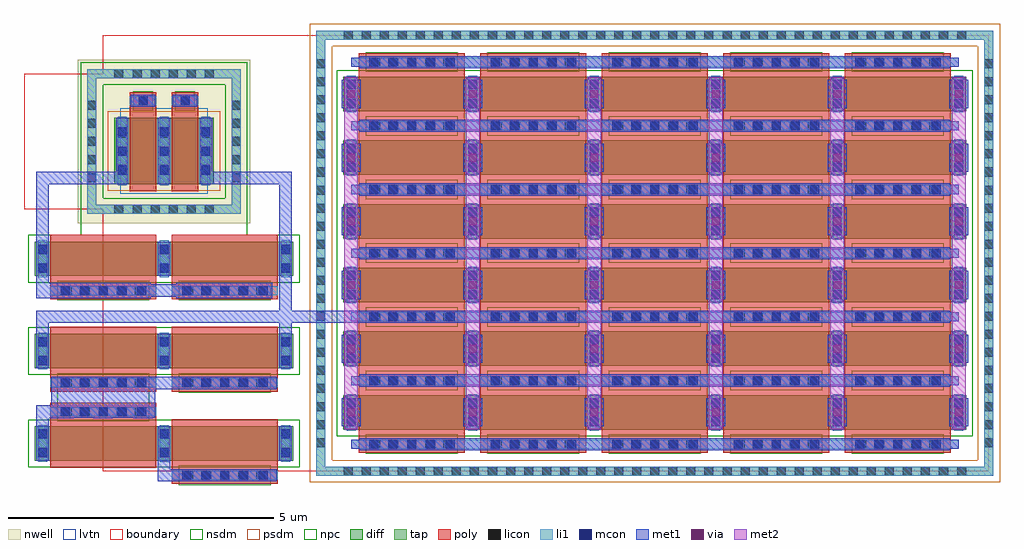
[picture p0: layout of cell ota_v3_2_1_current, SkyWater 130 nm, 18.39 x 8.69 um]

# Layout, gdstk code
import gdstk
lib = gdstk.Library(unit=1e-6, precision=1e-09)
def R(c, l, rs):  # rectangles x0, y0, x1, y1
    for r in rs: c.add(gdstk.rectangle(r[:2], r[2:], *l))
def A(c, l, x, y, w, h, nx, ny, dx, dy):  # array of equal rectangles
    R(c, l, [(x+i*dx, y+j*dy, x+i*dx+w, y+j*dy+h) for i in range(nx) for j in range(ny)])
nwell = (64, 20)
diff = (65, 20)
tap = (65, 44)
poly = (66, 20)
licon = (66, 44)
li1 = (67, 20)
mcon = (67, 44)
met1 = (68, 20)
via = (68, 44)
met2 = (69, 20)
nsdm = (93, 44)
psdm = (94, 20)
npc = (95, 20)
lvtn = (125, 44)
boundary = (235, 4)

sky130_fd_pr__pfet_01v8_ = lib.new_cell('sky130_fd_pr__pfet_01v8_lvt_YE4XRW')
R(sky130_fd_pr__pfet_01v8_, nwell, [(-1.625,-1.545,1.625,1.545)])
R(sky130_fd_pr__pfet_01v8_, diff, [(-0.935,-0.805,0.935,0.445)])
R(sky130_fd_pr__pfet_01v8_, tap, [(-1.445,-1.365,1.445,-1.195), (-1.445,-1.195,-1.275,1.195), (1.275,-1.195,1.445,1.195), (-1.445,1.195,1.445,1.365)])
R(sky130_fd_pr__pfet_01v8_, poly, [(-0.645,-0.935,-0.145,0.93), (0.145,-0.935,0.645,0.93)])
A(sky130_fd_pr__pfet_01v8_, licon, -0.935, -1.365, 0.17, 0.17, 6, 2, 0.34, 2.56)
A(sky130_fd_pr__pfet_01v8_, licon, -1.445, -0.765, 0.17, 0.17, 1, 5, 0, 0.34)
A(sky130_fd_pr__pfet_01v8_, licon, 1.275, -0.765, 0.17, 0.17, 1, 5, 0, 0.34)
A(sky130_fd_pr__pfet_01v8_, licon, -0.875, -0.605, 0.17, 0.17, 3, 3, 0.79, 0.34)
R(sky130_fd_pr__pfet_01v8_, licon, [(-0.48,0.68,-0.31,0.85), (0.31,0.68,0.48,0.85)])
A(sky130_fd_pr__pfet_01v8_, li1, -0.875, -0.825, 0.17, 1.29, 3, 1, 0.79, 0)
R(sky130_fd_pr__pfet_01v8_, li1, [(-1.445,-1.365,1.445,-1.195), (-1.445,-1.195,-1.275,1.195), (1.275,-1.195,1.445,1.195), (-0.645,0.68,-0.145,0.85), (0.145,0.68,0.645,0.85), (-1.445,1.195,1.445,1.365)])
A(sky130_fd_pr__pfet_01v8_, mcon, -0.875, -0.625, 0.17, 0.17, 3, 3, 0.79, 0.36)
R(sky130_fd_pr__pfet_01v8_, mcon, [(-0.48,0.68,-0.31,0.85), (0.31,0.68,0.48,0.85)])
A(sky130_fd_pr__pfet_01v8_, met1, -0.905, -0.805, 0.23, 1.25, 3, 1, 0.79, 0)
R(sky130_fd_pr__pfet_01v8_, met1, [(-0.625,0.65,-0.165,0.88), (0.165,0.65,0.625,0.88)])
R(sky130_fd_pr__pfet_01v8_, nsdm, [(-1.57,-1.49,1.57,-1.07), (-1.57,-1.07,-1.15,1.07), (1.15,-1.07,1.57,1.07), (-1.57,1.07,1.57,1.49)])
R(sky130_fd_pr__pfet_01v8_, psdm, [(-1.06,-0.93,1.06,0.57)])
R(sky130_fd_pr__pfet_01v8_, npc, [(-0.58,0.58,-0.21,0.95), (0.21,0.58,0.58,0.95)])
R(sky130_fd_pr__pfet_01v8_, lvtn, [(-0.825,-0.985,0.825,0.625)])
R(sky130_fd_pr__pfet_01v8_, boundary, [(-2.64,-1.28,1.36,1.28)])
sky130_fd_pr__pfet_01v8_.add(gdstk.Label('B', (0,-1.28), layer=67, texttype=5))
sky130_fd_pr__pfet_01v8_.add(gdstk.Label('D0', (-0.79,-0.18), layer=67, texttype=5))
sky130_fd_pr__pfet_01v8_.add(gdstk.Label('G0', (-0.395,0.765), layer=67, texttype=5))
sky130_fd_pr__pfet_01v8_.add(gdstk.Label('S1', (0,-0.18), layer=67, texttype=5))
sky130_fd_pr__pfet_01v8_.add(gdstk.Label('G1', (0.395,0.765), layer=67, texttype=5))

sky130_fd_pr__nfet_01v8_ = lib.new_cell('sky130_fd_pr__nfet_01v8_YCG9D7')
R(sky130_fd_pr__nfet_01v8_, diff, [(-2.435,-0.325,2.435,0.325)])
R(sky130_fd_pr__nfet_01v8_, poly, [(0.145,-0.765,2.145,0.455), (-2.145,-0.455,-0.145,0.765)])
A(sky130_fd_pr__nfet_01v8_, licon, 0.38, -0.685, 0.17, 0.17, 5, 1, 0.34, 0)
A(sky130_fd_pr__nfet_01v8_, licon, -2.375, -0.255, 0.17, 0.17, 3, 2, 2.29, 0.34)
A(sky130_fd_pr__nfet_01v8_, licon, -1.91, 0.515, 0.17, 0.17, 5, 1, 0.34, 0)
A(sky130_fd_pr__nfet_01v8_, li1, -2.375, -0.345, 0.17, 0.69, 3, 1, 2.29, 0)
R(sky130_fd_pr__nfet_01v8_, li1, [(0.145,-0.685,2.145,-0.515), (-2.145,0.515,-0.145,0.685)])
A(sky130_fd_pr__nfet_01v8_, mcon, 0.34, -0.685, 0.17, 0.17, 5, 1, 0.36, 0)
A(sky130_fd_pr__nfet_01v8_, mcon, -2.375, -0.265, 0.17, 0.17, 3, 2, 2.29, 0.36)
A(sky130_fd_pr__nfet_01v8_, mcon, -1.95, 0.515, 0.17, 0.17, 5, 1, 0.36, 0)
A(sky130_fd_pr__nfet_01v8_, met1, -2.405, -0.325, 0.23, 0.65, 3, 1, 2.29, 0)
R(sky130_fd_pr__nfet_01v8_, met1, [(0.165,-0.715,2.125,-0.485), (-2.125,0.485,-0.165,0.715)])
R(sky130_fd_pr__nfet_01v8_, nsdm, [(-2.56,-0.45,2.56,0.45)])
R(sky130_fd_pr__nfet_01v8_, npc, [(0.28,-0.785,2.01,-0.415), (-2.01,0.415,-0.28,0.785)])
sky130_fd_pr__nfet_01v8_.add(gdstk.Label('D0', (-2.29,0), layer=67, texttype=5))
sky130_fd_pr__nfet_01v8_.add(gdstk.Label('G0', (-1.145,0.6), layer=67, texttype=5))
sky130_fd_pr__nfet_01v8_.add(gdstk.Label('S1', (0,0), layer=67, texttype=5))

c_sky130_fd_pr__nfet_01v8_ = lib.new_cell('sky130_fd_pr__nfet_01v8_NJGPHB')
R(c_sky130_fd_pr__nfet_01v8_, diff, [(-2.435,-0.17,2.435,0.48)])
R(c_sky130_fd_pr__nfet_01v8_, poly, [(-2.145,-0.61,-0.145,0.61), (0.145,-0.61,2.145,0.61)])
A(c_sky130_fd_pr__nfet_01v8_, licon, -1.91, -0.53, 0.17, 0.17, 5, 1, 0.34, 0)
A(c_sky130_fd_pr__nfet_01v8_, licon, 0.38, -0.53, 0.17, 0.17, 5, 1, 0.34, 0)
A(c_sky130_fd_pr__nfet_01v8_, licon, -2.375, -0.1, 0.17, 0.17, 3, 2, 2.29, 0.34)
A(c_sky130_fd_pr__nfet_01v8_, li1, -2.375, -0.19, 0.17, 0.69, 3, 1, 2.29, 0)
R(c_sky130_fd_pr__nfet_01v8_, li1, [(-2.145,-0.53,-0.145,-0.36), (0.145,-0.53,2.145,-0.36)])
A(c_sky130_fd_pr__nfet_01v8_, mcon, -1.95, -0.53, 0.17, 0.17, 5, 1, 0.36, 0)
A(c_sky130_fd_pr__nfet_01v8_, mcon, 0.34, -0.53, 0.17, 0.17, 5, 1, 0.36, 0)
A(c_sky130_fd_pr__nfet_01v8_, mcon, -2.375, -0.11, 0.17, 0.17, 3, 2, 2.29, 0.36)
A(c_sky130_fd_pr__nfet_01v8_, met1, -2.405, -0.17, 0.23, 0.65, 3, 1, 2.29, 0)
R(c_sky130_fd_pr__nfet_01v8_, met1, [(-2.405,-0.59,-0.255,-0.56), (0.225,-0.59,2.035,-0.3), (-2.405,-0.56,-0.06,-0.53), (-2.065,-0.53,-0.06,-0.37), (-2.245,-0.37,-0.06,-0.33), (-2.245,-0.33,-0.255,-0.3)])
R(c_sky130_fd_pr__nfet_01v8_, nsdm, [(-2.56,-0.295,2.56,0.605)])
R(c_sky130_fd_pr__nfet_01v8_, npc, [(-2.01,-0.63,-0.28,-0.26), (0.28,-0.63,2.01,-0.26)])
c_sky130_fd_pr__nfet_01v8_.add(gdstk.Label('D0', (-2.29,0.155), layer=67, texttype=5))
c_sky130_fd_pr__nfet_01v8_.add(gdstk.Label('G0', (-1.145,-0.445), layer=67, texttype=5))
c_sky130_fd_pr__nfet_01v8_.add(gdstk.Label('S1', (0,0.155), layer=67, texttype=5))
c_sky130_fd_pr__nfet_01v8_.add(gdstk.Label('G1', (-1.145,-0.445), layer=67, texttype=5))
c_sky130_fd_pr__nfet_01v8_.add(gdstk.Label('G1', (1.145,-0.445), layer=67, texttype=5))

c_sky130_fd_pr__nfet_01v8__ = lib.new_cell('sky130_fd_pr__nfet_01v8_BTD5D5')
R(c_sky130_fd_pr__nfet_01v8__, diff, [(-2.435,-0.325,2.435,0.325)])
R(c_sky130_fd_pr__nfet_01v8__, poly, [(-2.145,-0.765,-0.145,0.455), (0.145,-0.765,2.145,0.455)])
A(c_sky130_fd_pr__nfet_01v8__, licon, -1.91, -0.685, 0.17, 0.17, 5, 1, 0.34, 0)
A(c_sky130_fd_pr__nfet_01v8__, licon, 0.38, -0.685, 0.17, 0.17, 5, 1, 0.34, 0)
A(c_sky130_fd_pr__nfet_01v8__, licon, -2.375, -0.255, 0.17, 0.17, 3, 2, 2.29, 0.34)
A(c_sky130_fd_pr__nfet_01v8__, li1, -2.375, -0.345, 0.17, 0.69, 3, 1, 2.29, 0)
R(c_sky130_fd_pr__nfet_01v8__, li1, [(-2.145,-0.685,-0.145,-0.515), (0.145,-0.685,2.145,-0.515)])
A(c_sky130_fd_pr__nfet_01v8__, mcon, -1.95, -0.685, 0.17, 0.17, 5, 1, 0.36, 0)
A(c_sky130_fd_pr__nfet_01v8__, mcon, 0.34, -0.685, 0.17, 0.17, 5, 1, 0.36, 0)
A(c_sky130_fd_pr__nfet_01v8__, mcon, -2.375, -0.265, 0.17, 0.17, 3, 2, 2.29, 0.36)
A(c_sky130_fd_pr__nfet_01v8__, met1, -2.405, -0.325, 0.23, 0.65, 3, 1, 2.29, 0)
R(c_sky130_fd_pr__nfet_01v8__, met1, [(-2.125,-0.715,-0.165,-0.485), (0.165,-0.715,2.125,-0.485)])
R(c_sky130_fd_pr__nfet_01v8__, nsdm, [(-2.56,-0.45,2.56,0.45)])
R(c_sky130_fd_pr__nfet_01v8__, npc, [(-2.01,-0.785,-0.28,-0.415), (0.28,-0.785,2.01,-0.415)])
c_sky130_fd_pr__nfet_01v8__.add(gdstk.Label('D0', (-2.29,0), layer=67, texttype=5))
c_sky130_fd_pr__nfet_01v8__.add(gdstk.Label('S1', (0,0), layer=67, texttype=5))

c_sky130_fd_pr__nfet_01v8___ = lib.new_cell('sky130_fd_pr__nfet_01v8_DYUMWS')
A(c_sky130_fd_pr__nfet_01v8___, diff, -5.87, -3.325, 11.74, 0.65, 1, 6, 0, 1.2)
R(c_sky130_fd_pr__nfet_01v8___, tap, [(-6.38,-4.195,6.38,-4.025), (-6.38,-4.025,-6.21,4.025), (6.21,-4.025,6.38,4.025), (-6.38,4.025,6.38,4.195)])
A(c_sky130_fd_pr__nfet_01v8___, poly, -5.58, -3.765, 2, 7.53, 5, 1, 2.29, 0)
A(c_sky130_fd_pr__nfet_01v8___, licon, -5.865, -4.195, 0.17, 0.17, 35, 2, 0.34, 8.22)
A(c_sky130_fd_pr__nfet_01v8___, licon, -5.345, -3.685, 0.17, 0.17, 5, 7, 0.34, 1.2)
A(c_sky130_fd_pr__nfet_01v8___, licon, -3.055, -3.685, 0.17, 0.17, 5, 7, 0.34, 1.2)
A(c_sky130_fd_pr__nfet_01v8___, licon, -0.765, -3.685, 0.17, 0.17, 5, 7, 0.34, 1.2)
A(c_sky130_fd_pr__nfet_01v8___, licon, 1.525, -3.685, 0.17, 0.17, 5, 7, 0.34, 1.2)
A(c_sky130_fd_pr__nfet_01v8___, licon, 3.815, -3.685, 0.17, 0.17, 5, 7, 0.34, 1.2)
A(c_sky130_fd_pr__nfet_01v8___, licon, -6.38, -3.655, 0.17, 0.17, 1, 22, 0, 0.34)
A(c_sky130_fd_pr__nfet_01v8___, licon, 6.21, -3.655, 0.17, 0.17, 1, 22, 0, 0.34)
A(c_sky130_fd_pr__nfet_01v8___, licon, -5.81, -3.255, 0.17, 0.17, 6, 2, 2.29, 0.34)
A(c_sky130_fd_pr__nfet_01v8___, licon, -5.81, -2.055, 0.17, 0.17, 6, 2, 2.29, 0.34)
A(c_sky130_fd_pr__nfet_01v8___, licon, -5.81, -0.855, 0.17, 0.17, 6, 2, 2.29, 0.34)
A(c_sky130_fd_pr__nfet_01v8___, licon, -5.81, 0.345, 0.17, 0.17, 6, 2, 2.29, 0.34)
A(c_sky130_fd_pr__nfet_01v8___, licon, -5.81, 1.545, 0.17, 0.17, 6, 2, 2.29, 0.34)
A(c_sky130_fd_pr__nfet_01v8___, licon, -5.81, 2.745, 0.17, 0.17, 6, 2, 2.29, 0.34)
A(c_sky130_fd_pr__nfet_01v8___, li1, -5.725, -3.685, 11.45, 0.17, 1, 7, 0, 1.2)
A(c_sky130_fd_pr__nfet_01v8___, li1, -5.81, -3.345, 0.17, 0.69, 6, 6, 2.29, 1.2)
R(c_sky130_fd_pr__nfet_01v8___, li1, [(-6.38,-4.195,6.38,-4.025), (-6.38,-4.025,-6.21,4.025), (6.21,-4.025,6.38,4.025), (-6.38,4.025,6.38,4.195)])
A(c_sky130_fd_pr__nfet_01v8___, mcon, -5.385, -3.685, 0.17, 0.17, 5, 7, 0.36, 1.2)
A(c_sky130_fd_pr__nfet_01v8___, mcon, -3.095, -3.685, 0.17, 0.17, 5, 7, 0.36, 1.2)
A(c_sky130_fd_pr__nfet_01v8___, mcon, -0.805, -3.685, 0.17, 0.17, 5, 7, 0.36, 1.2)
A(c_sky130_fd_pr__nfet_01v8___, mcon, 1.485, -3.685, 0.17, 0.17, 5, 7, 0.36, 1.2)
A(c_sky130_fd_pr__nfet_01v8___, mcon, 3.775, -3.685, 0.17, 0.17, 5, 7, 0.36, 1.2)
A(c_sky130_fd_pr__nfet_01v8___, mcon, -5.81, -3.265, 0.17, 0.17, 6, 2, 2.29, 0.36)
A(c_sky130_fd_pr__nfet_01v8___, mcon, -5.81, -2.065, 0.17, 0.17, 6, 2, 2.29, 0.36)
A(c_sky130_fd_pr__nfet_01v8___, mcon, -5.81, -0.865, 0.17, 0.17, 6, 2, 2.29, 0.36)
A(c_sky130_fd_pr__nfet_01v8___, mcon, -5.81, 0.335, 0.17, 0.17, 6, 2, 2.29, 0.36)
A(c_sky130_fd_pr__nfet_01v8___, mcon, -5.81, 1.535, 0.17, 0.17, 6, 2, 2.29, 0.36)
A(c_sky130_fd_pr__nfet_01v8___, mcon, -5.81, 2.735, 0.17, 0.17, 6, 2, 2.29, 0.36)
A(c_sky130_fd_pr__nfet_01v8___, met1, -5.56, -3.715, 1.96, 0.03, 5, 2, 2.29, 0.2)
A(c_sky130_fd_pr__nfet_01v8___, met1, -5.725, -3.685, 11.45, 0.17, 1, 7, 0, 1.2)
A(c_sky130_fd_pr__nfet_01v8___, met1, -5.84, -3.325, 0.23, 0.65, 6, 6, 2.29, 1.2)
A(c_sky130_fd_pr__nfet_01v8___, met1, -5.56, -2.515, 1.96, 0.03, 5, 2, 2.29, 0.2)
A(c_sky130_fd_pr__nfet_01v8___, met1, -5.56, -1.315, 1.96, 0.03, 5, 2, 2.29, 0.2)
A(c_sky130_fd_pr__nfet_01v8___, met1, -5.56, -0.115, 1.96, 0.03, 5, 2, 2.29, 0.2)
A(c_sky130_fd_pr__nfet_01v8___, met1, -5.56, 1.085, 1.96, 0.03, 5, 2, 2.29, 0.2)
A(c_sky130_fd_pr__nfet_01v8___, met1, -5.56, 2.285, 1.96, 0.03, 5, 2, 2.29, 0.2)
A(c_sky130_fd_pr__nfet_01v8___, met1, -5.56, 3.485, 1.96, 0.03, 5, 2, 2.29, 0.2)
R(c_sky130_fd_pr__nfet_01v8___, nsdm, [(-5.995,-3.45,5.995,3.45)])
R(c_sky130_fd_pr__nfet_01v8___, psdm, [(-6.505,-4.32,6.505,-3.9), (-6.505,-3.9,-6.085,3.9), (6.085,-3.9,6.505,3.9), (-6.505,3.9,6.505,4.32)])
A(c_sky130_fd_pr__nfet_01v8___, npc, -5.445, -3.785, 1.73, 0.37, 5, 7, 2.29, 1.2)
R(c_sky130_fd_pr__nfet_01v8___, boundary, [(-10.405,-4.11,6.295,4.11)])
c_sky130_fd_pr__nfet_01v8___.add(gdstk.Label('B', (0,-4.11), layer=67, texttype=5))
c_sky130_fd_pr__nfet_01v8___.add(gdstk.Label('D0_0', (-5.725,-3), layer=67, texttype=5))
c_sky130_fd_pr__nfet_01v8___.add(gdstk.Label('G', (4.58,-2.4), layer=67, texttype=5))
c_sky130_fd_pr__nfet_01v8___.add(gdstk.Label('G', (2.29,-2.4), layer=67, texttype=5))
c_sky130_fd_pr__nfet_01v8___.add(gdstk.Label('G', (0,-2.4), layer=67, texttype=5))
c_sky130_fd_pr__nfet_01v8___.add(gdstk.Label('G', (-2.29,-2.4), layer=67, texttype=5))
c_sky130_fd_pr__nfet_01v8___.add(gdstk.Label('G', (-4.58,-2.4), layer=67, texttype=5))
c_sky130_fd_pr__nfet_01v8___.add(gdstk.Label('D0_1', (-5.725,-1.8), layer=67, texttype=5))
c_sky130_fd_pr__nfet_01v8___.add(gdstk.Label('D0_2', (-5.725,-0.6), layer=67, texttype=5))
c_sky130_fd_pr__nfet_01v8___.add(gdstk.Label('D0_3', (-5.725,0.6), layer=67, texttype=5))
c_sky130_fd_pr__nfet_01v8___.add(gdstk.Label('D0_4', (-5.725,1.8), layer=67, texttype=5))
c_sky130_fd_pr__nfet_01v8___.add(gdstk.Label('D0_5', (-5.725,3), layer=67, texttype=5))
c_sky130_fd_pr__nfet_01v8___.add(gdstk.Label('S1_0', (-3.435,-3), layer=67, texttype=5))
c_sky130_fd_pr__nfet_01v8___.add(gdstk.Label('S1_1', (-3.435,-1.8), layer=67, texttype=5))
c_sky130_fd_pr__nfet_01v8___.add(gdstk.Label('S1_2', (-3.435,-0.6), layer=67, texttype=5))
c_sky130_fd_pr__nfet_01v8___.add(gdstk.Label('S1_3', (-3.435,0.6), layer=67, texttype=5))
c_sky130_fd_pr__nfet_01v8___.add(gdstk.Label('S1_4', (-3.435,1.8), layer=67, texttype=5))
c_sky130_fd_pr__nfet_01v8___.add(gdstk.Label('S1_5', (-3.435,3), layer=67, texttype=5))
c_sky130_fd_pr__nfet_01v8___.add(gdstk.Label('D2_0', (-1.145,-3), layer=67, texttype=5))
c_sky130_fd_pr__nfet_01v8___.add(gdstk.Label('D2_1', (-1.145,-1.8), layer=67, texttype=5))
c_sky130_fd_pr__nfet_01v8___.add(gdstk.Label('D2_2', (-1.145,-0.6), layer=67, texttype=5))
c_sky130_fd_pr__nfet_01v8___.add(gdstk.Label('D2_3', (-1.145,0.6), layer=67, texttype=5))
c_sky130_fd_pr__nfet_01v8___.add(gdstk.Label('D2_4', (-1.145,1.8), layer=67, texttype=5))
c_sky130_fd_pr__nfet_01v8___.add(gdstk.Label('D2_5', (-1.145,3), layer=67, texttype=5))
c_sky130_fd_pr__nfet_01v8___.add(gdstk.Label('S3_0', (1.145,-3), layer=67, texttype=5))
c_sky130_fd_pr__nfet_01v8___.add(gdstk.Label('S3_1', (1.145,-1.8), layer=67, texttype=5))
c_sky130_fd_pr__nfet_01v8___.add(gdstk.Label('S3_2', (1.145,-0.6), layer=67, texttype=5))
c_sky130_fd_pr__nfet_01v8___.add(gdstk.Label('S3_3', (1.145,0.6), layer=67, texttype=5))
c_sky130_fd_pr__nfet_01v8___.add(gdstk.Label('S3_4', (1.145,1.8), layer=67, texttype=5))
c_sky130_fd_pr__nfet_01v8___.add(gdstk.Label('S3_5', (1.145,3), layer=67, texttype=5))
c_sky130_fd_pr__nfet_01v8___.add(gdstk.Label('D4_0', (3.435,-3), layer=67, texttype=5))
c_sky130_fd_pr__nfet_01v8___.add(gdstk.Label('S4_0', (5.725,-3), layer=67, texttype=5))
c_sky130_fd_pr__nfet_01v8___.add(gdstk.Label('D4_1', (3.435,-1.8), layer=67, texttype=5))
c_sky130_fd_pr__nfet_01v8___.add(gdstk.Label('S4_1', (5.725,-1.8), layer=67, texttype=5))
c_sky130_fd_pr__nfet_01v8___.add(gdstk.Label('D4_2', (3.435,-0.6), layer=67, texttype=5))
c_sky130_fd_pr__nfet_01v8___.add(gdstk.Label('S4_2', (5.725,-0.6), layer=67, texttype=5))
c_sky130_fd_pr__nfet_01v8___.add(gdstk.Label('D4_3', (3.435,0.6), layer=67, texttype=5))
c_sky130_fd_pr__nfet_01v8___.add(gdstk.Label('S4_3', (5.725,0.6), layer=67, texttype=5))
c_sky130_fd_pr__nfet_01v8___.add(gdstk.Label('D4_4', (3.435,1.8), layer=67, texttype=5))
c_sky130_fd_pr__nfet_01v8___.add(gdstk.Label('S4_4', (5.725,1.8), layer=67, texttype=5))
c_sky130_fd_pr__nfet_01v8___.add(gdstk.Label('D4_5', (3.435,3), layer=67, texttype=5))
c_sky130_fd_pr__nfet_01v8___.add(gdstk.Label('S4_5', (5.725,3), layer=67, texttype=5))

ota_v3_2_1_current = lib.new_cell('ota_v3_2_1_current')
A(ota_v3_2_1_current, poly, 10.935, -4.45, 0.02, 0.23, 1, 4, 0, 1.2)
A(ota_v3_2_1_current, poly, 11.245, -4.45, 0.02, 0.23, 1, 4, 0, 1.2)
A(ota_v3_2_1_current, poly, 13.225, -4.45, 0.02, 0.23, 1, 4, 0, 1.2)
A(ota_v3_2_1_current, poly, 13.535, -4.45, 0.02, 0.23, 1, 4, 0, 1.2)
A(ota_v3_2_1_current, poly, 15.515, -4.45, 0.02, 0.23, 1, 5, 0, 1.2)
A(ota_v3_2_1_current, poly, 15.825, -4.45, 0.02, 0.23, 1, 5, 0, 1.2)
A(ota_v3_2_1_current, li1, 10.935, -4.42, 0.33, 0.17, 3, 4, 2.29, 1.2)
R(ota_v3_2_1_current, li1, [(15.515,0.38,15.845,0.55)])
A(ota_v3_2_1_current, met1, 8.645, -4.45, 0.33, 0.23, 4, 7, 2.29, 1.2)
A(ota_v3_2_1_current, met1, 6.34, -4, 0.36, 0.53, 6, 6, 2.29, 1.2)
R(ota_v3_2_1_current, met1, [(2.88,-5.035,3.28,-4.805), (2.88,-4.805,3.11,-4.64), (0.59,-3.995,0.82,-3.85), (0.59,-3.85,1.29,-3.605), (1.67,-3.85,2.03,-3.605), (2.41,-3.85,2.77,-3.605), (0.87,-3.605,2.83,-3.295), (0.87,-3.295,3.165,-3.29), (2.83,-3.29,3.165,-3.065), (5.17,-2.71,5.4,-2.45), (0.59,-2.255,0.82,-2.05), (5.17,-2.255,5.4,-2.05), (0.59,-2.05,6.685,-1.82), (5.17,-1.82,5.4,-1.025), (0.59,-1.555,1.045,-1.325), (2.83,-1.555,3.285,-1.325), (0.59,-1.325,0.82,-1.165), (5.17,-0.97,5.4,-0.71), (0.59,-0.515,0.82,0.565), (5.17,-0.515,5.4,0.565), (0.59,0.565,2.32,0.795), (3.67,0.565,5.4,0.795)])
A(ota_v3_2_1_current, via, 6.445, -3.81, 0.15, 0.15, 6, 6, 2.29, 1.2)
A(ota_v3_2_1_current, met2, 6.39, -4.05, 0.26, 6.63, 6, 1, 2.29, 0)
R(ota_v3_2_1_current, nsdm, [(1.425,-0.39,4.565,-0.12)])
R(ota_v3_2_1_current, npc, [(0.985,-3.535,2.715,-3.365)])
ota_v3_2_1_current.add(gdstk.Reference(sky130_fd_pr__pfet_01v8_, (2.995,1.37)))
ota_v3_2_1_current.add(gdstk.Reference(sky130_fd_pr__nfet_01v8_, (2.995,-4.32)))
ota_v3_2_1_current.add(gdstk.Reference(c_sky130_fd_pr__nfet_01v8_, (2.995,-0.995)))
ota_v3_2_1_current.add(gdstk.Reference(c_sky130_fd_pr__nfet_01v8__, (2.995,-2.58)))
ota_v3_2_1_current.add(gdstk.Reference(c_sky130_fd_pr__nfet_01v8___, (12.245,-0.735)))

lib.write_gds('ota_v3_2_1_current.gds')
